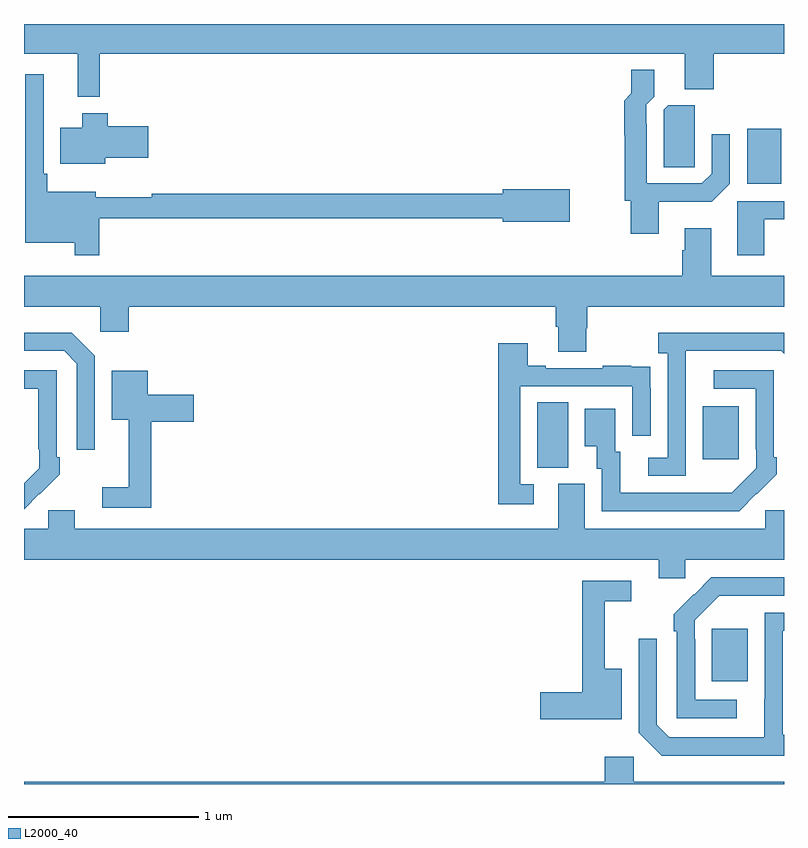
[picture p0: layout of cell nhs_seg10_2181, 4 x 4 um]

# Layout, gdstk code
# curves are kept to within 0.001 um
import gdstk
lib = gdstk.Library(unit=1e-6, precision=1e-09)
def R(c, l, rs):  # rectangles x0, y0, x1, y1
    for r in rs: c.add(gdstk.rectangle(r[:2], r[2:], *l))
def P(c, l, *ps):  # polygons
    for p in ps: c.add(gdstk.Polygon(p, *l))
L2000_40 = (2000, 40)

nhs_seg10_2181 = lib.new_cell('nhs_seg10_2181')
R(nhs_seg10_2181, L2000_40, [(230.621,1269.041,230.809,1269.316), (229.7,1270.165,229.864,1270.508), (230.573,1270.209,230.761,1270.489), (230.807,1271.66,230.986,1271.95)])
P(nhs_seg10_2181, L2000_40, [(227.399,1272.344),(230.477,1272.344),(230.477,1272.157),(230.63,1272.157),(230.63,1272.344),(231,1272.344),(231,1272.5),(227,1272.5),(227,1272.344),(227.282,1272.344),(227.282,1272.116),(227.399,1272.116)],
  [(230.341,1271.564),(230.621,1271.564),(230.715,1271.658),(230.715,1271.92),(230.619,1271.92),(230.619,1271.712),(230.568,1271.661),(230.277,1271.661),(230.277,1271.975),(230.274,1271.975),(230.274,1272.075),(230.317,1272.118),(230.317,1272.259),(230.197,1272.259),(230.197,1272.135),(230.159,1272.096),(230.159,1271.914),(230.161,1271.914),(230.161,1271.571),(230.194,1271.571),(230.194,1271.397),(230.341,1271.397)],
  [(227.396,1271.478),(229.52,1271.478),(229.52,1271.459),(229.873,1271.459),(229.873,1271.63),(229.52,1271.63),(229.52,1271.606),(227.673,1271.606),(227.673,1271.588),(227.377,1271.588),(227.377,1271.617),(227.123,1271.617),(227.123,1271.713),(227.103,1271.713),(227.103,1272.235),(227.006,1272.235),(227.006,1271.348),(227.268,1271.348),(227.268,1271.283),(227.396,1271.283)],
  [(230.529,1271.857),(230.53,1271.857),(230.53,1272.072),(230.391,1272.072),(230.367,1272.048),(230.367,1271.746),(230.529,1271.746)],
  [(227.428,1271.795),(227.653,1271.795),(227.653,1271.961),(227.441,1271.961),(227.441,1272.031),(227.306,1272.031),(227.306,1271.953),(227.192,1271.953),(227.192,1271.765),(227.428,1271.765)],
  [(230.896,1271.472),(231,1271.472),(231,1271.568),(230.753,1271.568),(230.753,1271.283),(230.896,1271.283)],
  [(229.959,1270.899),(229.964,1270.899),(229.964,1271.012),(231,1271.012),(231,1271.176),(230.617,1271.176),(230.617,1271.425),(230.477,1271.425),(230.477,1271.309),(230.465,1271.309),(230.465,1271.176),(227,1271.176),(227,1271.012),(227.4,1271.012),(227.4,1270.881),(227.552,1270.881),(227.552,1271.012),(229.799,1271.012),(229.799,1270.906),(229.811,1270.906),(229.811,1270.774),(229.959,1270.774)],
  [(227.373,1270.755),(227.252,1270.876),(227,1270.876),(227,1270.779),(227.211,1270.779),(227.277,1270.713),(227.277,1270.26),(227.373,1270.26)],
  [(230.484,1270.779),(230.985,1270.779),(231,1270.764),(231,1270.876),(230.337,1270.876),(230.337,1270.766),(230.388,1270.766),(230.388,1270.218),(230.286,1270.218),(230.286,1270.122),(230.484,1270.122)],
  [(229.684,1270.077),(229.611,1270.077),(229.611,1270.593),(230.202,1270.593),(230.202,1270.332),(230.298,1270.332),(230.298,1270.586),(230.297,1270.586),(230.297,1270.695),(230.195,1270.695),(230.195,1270.702),(230.047,1270.702),(230.047,1270.689),(229.747,1270.689),(229.747,1270.702),(229.651,1270.702),(229.651,1270.819),(229.495,1270.819),(229.495,1269.972),(229.684,1269.972)],
  [(227.081,1270.027),(227.082,1270.026),(227.187,1270.131),(227.187,1270.219),(227.172,1270.219),(227.172,1270.677),(227,1270.677),(227,1270.581),(227.076,1270.581),(227.076,1270.261),(227.079,1270.261),(227.079,1270.161),(227,1270.082),(227,1269.946)],
  [(230.855,1270.027),(230.856,1270.026),(230.961,1270.131),(230.961,1270.219),(230.946,1270.219),(230.946,1270.677),(230.631,1270.677),(230.631,1270.581),(230.85,1270.581),(230.85,1270.261),(230.853,1270.261),(230.853,1270.161),(230.725,1270.033),(230.137,1270.032),(230.137,1270.248),(230.113,1270.248),(230.113,1270.474),(229.952,1270.474),(229.952,1270.277),(230.015,1270.277),(230.015,1270.158),(230.04,1270.158),(230.04,1269.936),(230.764,1269.936)],
  [(227.669,1270.406),(227.893,1270.406),(227.893,1270.548),(227.65,1270.548),(227.65,1270.675),(227.462,1270.675),(227.462,1270.418),(227.552,1270.418),(227.552,1270.063),(227.412,1270.063),(227.412,1269.954),(227.669,1269.954)],
  [(230.481,1269.68),(231,1269.68),(231,1269.942),(230.901,1269.942),(230.901,1269.844),(229.951,1269.844),(229.951,1270.08),(229.811,1270.08),(229.811,1269.844),(227.266,1269.844),(227.266,1269.942),(227.127,1269.942),(227.127,1269.844),(227,1269.844),(227,1269.68),(230.342,1269.68),(230.342,1269.582),(230.481,1269.582)],
  [(230.752,1268.943),(230.532,1268.943),(230.532,1269.263),(230.529,1269.263),(230.529,1269.363),(230.658,1269.492),(231,1269.492),(231,1269.588),(230.618,1269.588),(230.421,1269.393),(230.421,1269.305),(230.436,1269.305),(230.436,1268.847),(230.752,1268.847)],
  [(230.146,1269.106),(230.057,1269.106),(230.057,1269.462),(230.197,1269.462),(230.197,1269.57),(229.939,1269.57),(229.939,1268.984),(229.716,1268.984),(229.716,1268.842),(230.146,1268.842)],
  [(231,1268.758),(230.994,1268.758),(230.994,1269.306),(231,1269.306),(231,1269.402),(230.898,1269.402),(230.897,1268.745),(230.397,1268.745),(230.331,1268.811),(230.331,1269.265),(230.235,1269.265),(230.235,1268.769),(230.356,1268.648),(231,1268.648)],
  [(231,1268.512),(230.208,1268.512),(230.208,1268.644),(230.057,1268.644),(230.057,1268.512),(227,1268.512),(227,1268.5),(231,1268.5)])

lib.write_gds('nhs_seg10_2181.gds')
